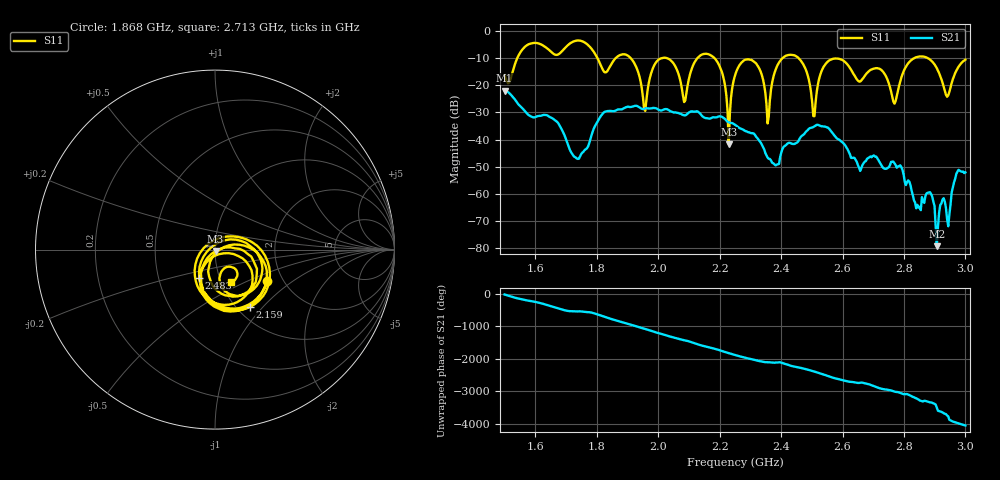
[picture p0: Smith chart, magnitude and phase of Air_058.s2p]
# HZ S RI R 50
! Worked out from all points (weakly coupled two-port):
!   404 points, 1.5 GHz to 3 GHz, reference 50 ohm
!   highest |S21| = -21.99 dB at 1.5 GHz (marker M1); lowest = -79.2 dB at 2.907 GHz (marker M2)
!   lowest |S11| = -41.7 dB at 2.23 GHz (marker M3), VSWR 1.02, Z = 50.3 - j0.762 ohm
!   |S11| at or under -10 dB: 2.182 GHz to 2.406 GHz (223.5 MHz wide, 9.74 % of centre); 2.456 GHz to 2.835 GHz (378.9 MHz wide, 14.3 % of centre); 2.876 GHz to end of sweep (the widest 3 of 7)
!   S12 and S22 are empty: the file has one direction only
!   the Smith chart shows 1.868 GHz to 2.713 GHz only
!   S11 on the Smith chart (normalised r, x): 1.868 GHz: 1.64, -0.65; 2.159 GHz: 1.15, -0.85; 2.483 GHz: 0.80, -0.26; 2.713 GHz: 1.12, -0.43
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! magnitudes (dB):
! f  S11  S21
! 1.5 GHz  -16.3  -22.0
! 1.753 GHz  -3.9  -44.8
! 1.868 GHz  -9.4  -29.0
! 1.958 GHz  -29.5  -28.5
! 2.002 GHz  -10.6  -29.2
! 2.084 GHz  -26.2  -31.1
! 2.159 GHz  -8.5  -32.2
! 2.203 GHz  -14.0  -31.5
! 2.23 GHz  -41.7  -33.7
! 2.252 GHz  -15.8  -34.7
! 2.315 GHz  -11.7  -38.3
! 2.356 GHz  -34.1  -46.6
! 2.386 GHz  -13.3  -49.2
! 2.483 GHz  -15.0  -36.9
! 2.501 GHz  -26.3  -35.6
! 2.561 GHz  -10.7  -36.7
! 2.713 GHz  -13.8  -46.9
! 2.751 GHz  -19.4  -50.2
! 2.885 GHz  -10.6  -59.3
! 2.907 GHz  -13.8  -79.2
! 2.94 GHz  -24.3  -69.2
! 3 GHz  -10.7  -52.1
